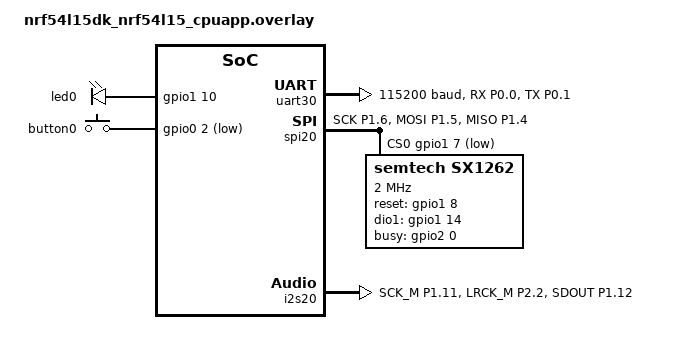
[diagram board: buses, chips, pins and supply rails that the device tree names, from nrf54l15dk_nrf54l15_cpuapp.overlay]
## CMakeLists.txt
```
cmake_minimum_required(VERSION 3.20.0)
find_package(Zephyr REQUIRED HINTS $ENV{ZEPHYR_BASE})
project(LoWkie_Talkie)

# No FetchContent! No Subdirectories! Zephyr handles Opus natively.
target_sources(app PRIVATE src/main.c)
```

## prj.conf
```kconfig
# Zephyr OS & Hardware
CONFIG_FPU=y
CONFIG_MAIN_STACK_SIZE=4096
CONFIG_SYSTEM_WORKQUEUE_STACK_SIZE=2048

# LoRa & SPI
CONFIG_SPI=y
CONFIG_GPIO=y

CONFIG_LORA=y
CONFIG_LORA_SX126X=y

# Audio & I2S
CONFIG_I2S=y
CONFIG_AUDIO=y

# Threading & IPC
CONFIG_NUM_PREEMPT_PRIORITIES=15
CONFIG_TIMESLICING=y

# Logging
CONFIG_LOG=y
CONFIG_LOG_MODE_DEFERRED=y
CONFIG_LORA_LOG_LEVEL_WRN=y
CONFIG_I2S_LOG_LEVEL_ERR=y

# Enable Newlib C Library for Codec2 math/memory dependencies
CONFIG_NEWLIB_LIBC=y
CONFIG_NEWLIB_LIBC_FLOAT_PRINTF=y

# Memory Management (No Malloc allowed in audio threads)
CONFIG_HEAP_MEM_POOL_SIZE=8192

# Native Opus Integration
CONFIG_OPUS=y
CONFIG_OPUS_CUSTOM_MODES=y
```

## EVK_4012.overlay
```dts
/* Enable the I2S peripheral */
&i2s0 {
	compatible = "nordic,nrf-i2s";
	status = "okay";
	pinctrl-0 = <&i2s0_default>;
	pinctrl-names = "default";
};

/* Define pin mappings for the I2S interface */
&pinctrl {
	i2s0_default: i2s0_default {
		group1 {
			psels = <NRF_PSEL(I2S_SCK_M, 0, 30)>,
			<NRF_PSEL(I2S_LRCK_M, 0, 29)>,
			<NRF_PSEL(I2S_SDOUT, 0, 31)>;
		};
	};
};
```

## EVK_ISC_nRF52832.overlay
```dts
&spi0 {
    status = "okay";
    compatible = "nordic,nrf-spi";
    cs-gpios = <&gpio0 13 GPIO_ACTIVE_LOW>;
    pinctrl-0 = <&lora_default>;
    pinctrl-1 = <&lora_sleep>;
    pinctrl-names = "default", "sleep";
    sx1262: sx1262@0 {
        compatible = "semtech,sx1262";
        reg = <0>;
        spi-max-frequency = <DT_FREQ_M(2)>;
        reset-gpios = <&gpio0 16 GPIO_ACTIVE_HIGH>;
        dio1-gpios = <&gpio0 18 GPIO_ACTIVE_HIGH>;
        busy-gpios = <&gpio0 24 GPIO_ACTIVE_HIGH>;
        dio2-tx-enable;
    };
};


&pinctrl {
   lora_default:lora_default{
        group1 {
            psels = <NRF_PSEL(SPIM_SCK, 0, 6)>,
                    <NRF_PSEL(SPIM_MOSI, 0, 26)>,
                    <NRF_PSEL(SPIM_MISO, 0, 25)>;
        };
    };
    lora_sleep:lora_sleep{  
        group1 {
            psels = <NRF_PSEL(SPIM_SCK, 0, 6)>,
                    <NRF_PSEL(SPIM_MOSI, 0, 26)>,
                    <NRF_PSEL(SPIM_MISO, 0, 25)>;
        };
    };
};
```

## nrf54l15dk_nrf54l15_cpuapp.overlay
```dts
&pwm20 {
	status="disabled";
};
&led1 {
	status="disabled";
};

/ {
	chosen {
		zephyr,console = &uart30;
		zephyr,shell-uart = &uart30;
		zephyr,uart-mcumgr = &uart30;
	};
	
	leds {
		compatible = "gpio-leds";
		led0: led_0 {
			gpios = <&gpio1 10 GPIO_ACTIVE_HIGH>;
		};
	};
	
	buttons {
		compatible = "gpio-keys";
		button0: button_0 {
			gpios = <&gpio0 2 (GPIO_ACTIVE_LOW | GPIO_PULL_UP)>;
		};
	};
	
	aliases {
		led0 = &led0;
		button0 = &button0;
		lora0 = &sx1262;
	};
};

&button2 {
	status = "disabled";
};

&led3 {
	status = "disabled";
};


&spi00 {
	status = "disabled";
};

&uart30 {
	status = "okay";
	current-speed = <115200>;
	pinctrl-0 = <&uart30_default>;
	pinctrl-1 = <&uart30_sleep>;
	pinctrl-names = "default", "sleep";
};

&uart20 {
	status = "disabled";
};

&spi20 {
	status = "okay";
	compatible = "nordic,nrf-spim";
	pinctrl-0 = <&spi20_default>;
	pinctrl-1 = <&spi20_sleep>;
	pinctrl-names = "default", "sleep";
	cs-gpios = <&gpio1 7 GPIO_ACTIVE_LOW>;
	sx1262: sx1262@0 {
		compatible = "semtech,sx1262";
		reg = <0>;
		spi-max-frequency = <DT_FREQ_M(2)>;
		reset-gpios = <&gpio1 8 GPIO_ACTIVE_HIGH>;
		dio1-gpios = <&gpio1 14 GPIO_ACTIVE_HIGH>;
		busy-gpios = <&gpio2 0 GPIO_ACTIVE_HIGH>;
		dio2-tx-enable;
	};
};

// &lfxo {
//     load-capacitors = "external";
// };

// &hfxo {
//     load-capacitors = "external";
// };

&i2s20 {
	status = "okay";
	
	pinctrl-0 = <&i2s20_default>;
	pinctrl-1 = <&i2s20_sleep>;
	
	pinctrl-names = "default", "sleep";
};


&pinctrl {
	uart30_default: uart30_default {
		group1 {
			psels = <NRF_PSEL(UART_RX, 0, 0)>,
			<NRF_PSEL(UART_TX, 0, 1)>;
			bias-pull-up;
		};
	};
	uart30_sleep: uart30_sleep {
		group1 {
			psels = <NRF_PSEL(UART_RX, 0, 0)>,
			<NRF_PSEL(UART_TX, 0, 1)>;
			low-power-enable;
		};
	};
	
	spi20_default: spi20_default {
		group1 {
			psels = <NRF_PSEL(SPIM_SCK, 1, 6)>,
			<NRF_PSEL(SPIM_MOSI, 1, 5)>,
			<NRF_PSEL(SPIM_MISO, 1, 4)>;
		};
	};
	
	spi20_sleep: spi20_sleep {
		group1 {
			psels = <NRF_PSEL(SPIM_SCK, 1, 6)>,
			<NRF_PSEL(SPIM_MOSI, 1, 5)>,
			<NRF_PSEL(SPIM_MISO, 1, 4)>;
			low-power-enable;
		};
	};
	i2s20_default: i2s20_default {
		group1 {
			psels = <NRF_PSEL(I2S_SCK_M, 1, 11)>,// BCLK - I2S Bit Clock
			<NRF_PSEL(I2S_LRCK_M, 2, 2)>,// LRC - I2S Word Select / LR Clock
			<NRF_PSEL(I2S_SDOUT, 1, 12)>;// DIN - I2S Audio Data ---- I2S Serial Data Out (SDOUT)
		};
	};
	
	i2s20_sleep: i2s20_sleep {
		group1 {
			psels = <NRF_PSEL(I2S_SCK_M, 1, 11)>,
			<NRF_PSEL(I2S_LRCK_M, 2, 2)>,
			<NRF_PSEL(I2S_SDOUT, 1, 12)>;
			low-power-enable;
		};
	};
};
```

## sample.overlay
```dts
/ {
	aliases {
		// These aliases help main.c find the pins if it uses DT_ALIAS
		lora0 = &sx1262;
	};
};

&spi0 {
	compatible = "nordic,nrf-spi";
	status = "okay";
	cs-gpios = <&gpio1 12 GPIO_ACTIVE_LOW>;
	pinctrl-0 = <&lora_default>;
	pinctrl-1 = <&lora_sleep>;
	pinctrl-names = "default", "sleep";

	// LABEL MUST BE 'sx1262' to match the driver's expectation
	sx1262: lora@0 {
		// COMPATIBLE MUST BE 'semtech,sx1262' to match the driver binding
		compatible = "semtech,sx1262";
		reg = <0>;
		spi-max-frequency = <125000>;

		// GPIOs must be defined INSIDE the device node for the driver to find them
		reset-gpios = <&gpio1 6 GPIO_ACTIVE_HIGH>;
		
		// Note: You had P0.07 for both Busy and RX_EN. This is likely a conflict.
		// I have assigned P0.07 to BUSY here. Check your schematic!
		busy-gpios  = <&gpio1 7 GPIO_ACTIVE_HIGH>;
		
		dio1-gpios  = <&gpio1 8 GPIO_ACTIVE_HIGH>;
	};
};

&pinctrl {
	lora_default: lora_default {
		group1 {
			psels = <NRF_PSEL(SPIM_SCK, 1, 13)>,
					<NRF_PSEL(SPIM_MOSI, 1, 14)>,
					<NRF_PSEL(SPIM_MISO, 1, 15)>;
		};
	};

	lora_sleep: lora_sleep {
		group1 {
			psels = <NRF_PSEL(SPIM_SCK, 1, 13)>,
					<NRF_PSEL(SPIM_MOSI, 1, 14)>,
					<NRF_PSEL(SPIM_MISO, 1, 15)>;
			low-power-enable;
		};
	};
};
```

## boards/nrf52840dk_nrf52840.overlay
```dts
&i2s0 {
	status = "okay";
	sck-pin = <25>;
	lrck-pin = <26>;
	sdin-pin = <27>; /* INMP441 Data */
	clock-source = "PCLK32M_HFXO";
};

/ {
	buttons {
		compatible = "gpio-keys";
		ptt_button: ptt_button {
			gpios = <&gpio0 11 (GPIO_PULL_UP | GPIO_ACTIVE_LOW)>;
			label = "Push to Talk";
		};
	};
};
```

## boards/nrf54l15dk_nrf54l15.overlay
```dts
&pwm20 {
	status="disabled";
};
&led1 {
	status="disabled";
};

/ {
	chosen {
		zephyr,console = &uart30;
		zephyr,shell-uart = &uart30;
		zephyr,uart-mcumgr = &uart30;
	};
	
	leds {
		compatible = "gpio-leds";
		led0: led_0 {
			gpios = <&gpio1 10 GPIO_ACTIVE_HIGH>;
		};
	};
	
	buttons {
		compatible = "gpio-keys";
		button0: button_0 {
			gpios = <&gpio0 2 (GPIO_ACTIVE_LOW | GPIO_PULL_UP)>;
			label = "Push to Talk";
		};
	};
	
	aliases {
		led0 = &led0;
		button0 = &button0;
		lora0 = &sx1262;
	};
};

&button2 {
	status = "disabled";
};

&led3 {
	status = "disabled";
};


&spi00 {
	status = "disabled";
};

&uart30 {
	status = "okay";
	current-speed = <115200>;
	pinctrl-0 = <&uart30_default>;
	pinctrl-1 = <&uart30_sleep>;
	pinctrl-names = "default", "sleep";
};

&uart20 {
	status = "disabled";
};

&spi20 {
	status = "okay";
	compatible = "nordic,nrf-spim";
	pinctrl-0 = <&spi20_default>;
	pinctrl-1 = <&spi20_sleep>;
	pinctrl-names = "default", "sleep";
	cs-gpios = <&gpio1 7 GPIO_ACTIVE_LOW>;
	sx1262: sx1262@0 {
		compatible = "semtech,sx1262";
		reg = <0>;
		spi-max-frequency = <DT_FREQ_M(2)>;
		reset-gpios = <&gpio1 8 GPIO_ACTIVE_HIGH>;
		dio1-gpios = <&gpio1 14 GPIO_ACTIVE_HIGH>;
		busy-gpios = <&gpio2 0 GPIO_ACTIVE_HIGH>;
		dio2-tx-enable;
	};
};

// &lfxo {
//     load-capacitors = "external";
// };

// &hfxo {
//     load-capacitors = "external";
// };

&i2s20 {
	status = "okay";
	
	pinctrl-0 = <&i2s20_default>;
	pinctrl-1 = <&i2s20_sleep>;
	
	pinctrl-names = "default", "sleep";
};


&pinctrl {
	uart30_default: uart30_default {
		group1 {
			psels = <NRF_PSEL(UART_RX, 0, 0)>,
			<NRF_PSEL(UART_TX, 0, 1)>;
			bias-pull-up;
		};
	};
	uart30_sleep: uart30_sleep {
		group1 {
			psels = <NRF_PSEL(UART_RX, 0, 0)>,
			<NRF_PSEL(UART_TX, 0, 1)>;
			low-power-enable;
		};
	};
	
	spi20_default: spi20_default {
		group1 {
			psels = <NRF_PSEL(SPIM_SCK, 1, 6)>,
			<NRF_PSEL(SPIM_MOSI, 1, 5)>,
			<NRF_PSEL(SPIM_MISO, 1, 4)>;
		};
	};
	
	spi20_sleep: spi20_sleep {
		group1 {
			psels = <NRF_PSEL(SPIM_SCK, 1, 6)>,
			<NRF_PSEL(SPIM_MOSI, 1, 5)>,
			<NRF_PSEL(SPIM_MISO, 1, 4)>;
			low-power-enable;
		};
	};
	i2s20_default: i2s20_default {
		group1 {
			psels = <NRF_PSEL(I2S_SCK_M, 1, 11)>,// BCLK - I2S Bit Clock
			<NRF_PSEL(I2S_LRCK_M, 2, 2)>,// LRC - I2S Word Select / LR Clock
			<NRF_PSEL(I2S_SDOUT, 1, 12)>;// DIN - I2S Audio Data ---- I2S Serial Data Out (SDOUT)
		};
	};
	
	i2s20_sleep: i2s20_sleep {
		group1 {
			psels = <NRF_PSEL(I2S_SCK_M, 1, 11)>,
			<NRF_PSEL(I2S_LRCK_M, 2, 2)>,
			<NRF_PSEL(I2S_SDOUT, 1, 12)>;
			low-power-enable;
		};
	};
};
```

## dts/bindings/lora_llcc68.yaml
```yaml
description: |
    Semtech lora device LLCC68

compatible: "lora-llcc68"

include: spi-device.yaml
```

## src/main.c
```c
#include <zephyr/kernel.h>
#include <zephyr/device.h>
#include <zephyr/devicetree.h>
#include <zephyr/drivers/i2s.h>
#include <zephyr/drivers/gpio.h>
#include <zephyr/logging/log.h>
#include <zephyr/sys/printk.h>
#include <string.h>
#include <stdint.h>

/* Speex instead of Codec2 */
#include <speex/speex.h>

#include "packet.h"
#include "llcc68_driver.h"
#include "audio_data.h"

LOG_MODULE_REGISTER(lowkie_talkie, LOG_LEVEL_INF);

#define USE_TEST_AUDIO 1 // 1: Stored PCM, 0: Live Mic

#define JITTER_BUFFER_TARGET_PACKETS 5 // 800ms buffer

/* Speex Timing Updates */
#define SAMPLES_PER_FRAME 160 // 20ms @ 8kHz for Speex Narrowband
#define FRAMES_PER_PACKET 8   // 8 frames * 20ms = 160ms audio window

/* Memory Slabs and Message Queues */
K_MSGQ_DEFINE(tx_audio_msgq, SAMPLES_PER_FRAME * sizeof(int16_t), 10, 4);
K_MSGQ_DEFINE(tx_lora_msgq, sizeof(lowkie_packet_t), 10, 4);

K_MSGQ_DEFINE(rx_lora_msgq, sizeof(lowkie_packet_t), 20, 4);
K_MSGQ_DEFINE(rx_audio_msgq, SAMPLES_PER_FRAME * sizeof(int16_t) * FRAMES_PER_PACKET, 10, 4);

static volatile bool is_ptt_pressed = false;

/* Hardware Specs */
static const struct gpio_dt_spec reset_pin = GPIO_DT_SPEC_INST_GET(0, reset_gpios);
static const struct gpio_dt_spec button = GPIO_DT_SPEC_GET(DT_ALIAS(sw0), gpios);
static struct gpio_callback button_cb_data;

/* -------------------------------------------------------------------------- */
/* HARDWARE INITIALIZATION                                                    */
/* -------------------------------------------------------------------------- */

void button_pressed_callback(const struct device *dev, struct gpio_callback *cb, uint32_t pins)
{
        int val = gpio_pin_get_dt(&button);
        is_ptt_pressed = (val > 0);

        if (is_ptt_pressed)
        {
                LOG_INF("PTT Pressed - Entering TX Mode");
        }
        else
        {
                LOG_INF("PTT Released - Entering RX Mode");
        }
}

static void button_init(void)
{
        if (!gpio_is_ready_dt(&button))
        {
                LOG_ERR("Button device not ready");
                return;
        }

        gpio_pin_configure_dt(&button, GPIO_INPUT);
        gpio_pin_interrupt_configure_dt(&button, GPIO_INT_EDGE_BOTH);
        gpio_init_callback(&button_cb_data, button_pressed_callback, BIT(button.pin));
        gpio_add_callback(button.port, &button_cb_data);

        LOG_INF("PTT Button initialized");
}

void lora_init(void)
{
        peripherals_ready();
        LOG_INF("Starting LORA SX126X!");

        llcc68_reset(&reset_pin);
        llcc68_setStandby(LLCC68_STDBY_RC);

        uint8_t mode = llcc68_getMode();
        if (mode != LLCC68_STATUS_MODE_STDBY_RC)
        {
                LOG_WRN("Wrong status received! (mode: 0x%X)", mode);
                return;
        }

        llcc68_setPacketType(LLCC68_PACKETTYPE_LORA);
        llcc68_fixResistanceAntenna();

        LOG_INF("Set RF module to use XTAL as clock reference");
        llcc68_setXtalCap(0x12, 0x12);

        LOG_INF("Setting LORA Frequency!");
        llcc68_setFrequency(865100000);

        LOG_INF("Setting TX power");
        llcc68_setTxPower(14, SX126X_TX_POWER_SX1262);

        LOG_INF("Setting modulation parameters");
        uint8_t sf = 7;
        uint32_t bw = 250000;
        uint8_t cr = 1;
        llcc68_LoraModulation(sf, bw, cr, true);

        LOG_INF("Setting Packet Parameters");
        uint8_t headerType = LLCC68_HEADER_EXPLICIT;
        uint16_t preambleLength = 16;
        uint8_t payloadLength = sizeof(lowkie_packet_t);
        bool crcType = true;
        llcc68_setLoraPacket(headerType, preambleLength, payloadLength, crcType, false);

        LOG_INF("Setting sync word");
        llcc68_setSyncWord(PACKET_SYNC_WORD);
}

/* -------------------------------------------------------------------------- */
/* AUDIO & CODEC PIPELINE THREADS (SPEEX INTEGER API)                         */
/* -------------------------------------------------------------------------- */

void tx_audio_capture_thread(void)
{
        int16_t pcm_buffer[SAMPLES_PER_FRAME];
        uint32_t phase = 0;

        while (1)
        {
                if (!is_ptt_pressed)
                {
                        k_msleep(50); // Yield CPU when not transmitting
                        continue;
                }

#if USE_TEST_AUDIO
                for (int i = 0; i < SAMPLES_PER_FRAME; i++)
                {
                        pcm_buffer[i] = (phase++ % 18) > 9 ? 8000 : -8000;
                }
                k_msleep(20); // 20ms yield to match Speex frame length
#else
                // i2s_read(i2s_dev, &pcm_buffer, sizeof(pcm_buffer), &bytes_read);
#endif
                k_msgq_put(&tx_audio_msgq, &pcm_buffer, K_NO_WAIT);
        }
}

void tx_speex_encoder_thread(void)
{
        void *speex_enc = speex_encoder_init(&speex_nb_mode);
        if (speex_enc == NULL)
        {
                LOG_ERR("Failed to create Speex instance for TX");
                return;
        }

        // Force Quality 1 (~2.15 kbps) to ensure payload fits inside LoRa limits
        int quality = 1;
        speex_encoder_ctl(speex_enc, SPEEX_SET_QUALITY, &quality);

        SpeexBits bits;
        speex_bits_init(&bits);

        int16_t pcm_buffer[SAMPLES_PER_FRAME];
        lowkie_packet_t packet;
        uint16_t seq_id = 0;
        int frame_idx = 0;

        while (1)
        {
                k_msgq_get(&tx_audio_msgq, &pcm_buffer, K_FOREVER);

                if (frame_idx == 0)
                {
                        packet.sync_word = PACKET_SYNC_WORD;
                        packet.packet_id = seq_id++;
                        packet.timestamp = k_uptime_get_32();
                        packet.codec_mode = CODEC_MODE_SPEEX_2150; // Defined in packet.h
                        speex_bits_reset(&bits);
                }

                // Integer-only Speex encoding
                speex_encode_int(speex_enc, pcm_buffer, &bits);
                frame_idx++;

                if (frame_idx == FRAMES_PER_PACKET)
                {
                        // Write compressed bits to payload array
                        packet.payload_size = speex_bits_write(&bits, packet.payload, sizeof(packet.payload));
                        packet.crc16 = 0xFFFF; // Replace with actual CRC calculation
                        k_msgq_put(&tx_lora_msgq, &packet, K_NO_WAIT);
                        frame_idx = 0;
                }
        }

        // Clean up (though this infinite loop never reaches here)
        speex_bits_destroy(&bits);
        speex_encoder_destroy(speex_enc);
}

void rx_jitter_buffer_thread(void)
{
        lowkie_packet_t packet;
        lowkie_packet_t jbuf[20];
        int jbuf_count = 0;
        bool is_playing = false;
        uint16_t expected_id = 0;

        void *speex_dec = speex_decoder_init(&speex_nb_mode);
        if (speex_dec == NULL)
        {
                LOG_ERR("Failed to create Speex instance for RX");
                return;
        }

        SpeexBits bits;
        speex_bits_init(&bits);

        int16_t pcm_out[SAMPLES_PER_FRAME * FRAMES_PER_PACKET];

        while (1)
        {
                if (!is_playing)
                {
                        k_msgq_get(&rx_lora_msgq, &packet, K_FOREVER);
                        jbuf[jbuf_count++] = packet;

                        if (jbuf_count >= JITTER_BUFFER_TARGET_PACKETS)
                        {
                                is_playing = true;
                                expected_id = jbuf[0].packet_id;
                        }
                }
                else
                {
                        int16_t diff = (int16_t)(jbuf[0].packet_id - expected_id);

                        if (diff < 0)
                        {
                                LOG_WRN("Discarding old packet %d (expected %d)", jbuf[0].packet_id, expected_id);
                                memmove(&jbuf[0], &jbuf[1], sizeof(lowkie_packet_t) * (jbuf_count - 1));
                                jbuf_count--;
                                if (jbuf_count == 0)
                                {
                                        is_playing = false;
                                }
                                continue;
                        }
                        else if (diff > 0)
                        {
                                LOG_WRN("Missing packet %d, inserting silence", expected_id);
                                memset(pcm_out, 0, sizeof(pcm_out));
                                expected_id++;
                                k_msgq_put(&rx_audio_msgq, pcm_out, K_NO_WAIT);

                                if (k_msgq_get(&rx_lora_msgq, &packet, K_NO_WAIT) == 0)
                                {
                                        jbuf[jbuf_count++] = packet;
                                }
                                continue;
                        }

                        packet = jbuf[0];
                        memmove(&jbuf[0], &jbuf[1], sizeof(lowkie_packet_t) * (jbuf_count - 1));
                        jbuf_count--;
                        expected_id++;

                        // Load bits from payload and decode
                        speex_bits_read_from(&bits, packet.payload, packet.payload_size);

                        for (int i = 0; i < FRAMES_PER_PACKET; i++)
                        {
                                // Integer-only Speex decoding
                                speex_decode_int(speex_dec, &bits, &pcm_out[i * SAMPLES_PER_FRAME]);
                        }

                        k_msgq_put(&rx_audio_msgq, pcm_out, K_NO_WAIT);

                        if (k_msgq_get(&rx_lora_msgq, &packet, K_NO_WAIT) == 0)
                        {
                                jbuf[jbuf_count++] = packet;
                        }

                        if (jbuf_count == 0)
                        {
                                LOG_WRN("Jitter buffer empty, forcing rebuffering");
                                is_playing = false;
                        }
                }
        }

        speex_bits_destroy(&bits);
        speex_decoder_destroy(speex_dec);
}

void rx_audio_play_thread(void)
{
        int16_t pcm_out[SAMPLES_PER_FRAME * FRAMES_PER_PACKET];
        while (1)
        {
                k_msgq_get(&rx_audio_msgq, pcm_out, K_FOREVER);
                // i2s_write(i2s_dev, pcm_out, sizeof(pcm_out), &bytes_written);
        }
}

/* -------------------------------------------------------------------------- */
/* UNIFIED TRANSCEIVER THREAD (Half-Duplex Master)                            */
/* -------------------------------------------------------------------------- */

void lora_transceiver_thread(void)
{
        lowkie_packet_t packet;

        while (1)
        {
                if (is_ptt_pressed)
                {
                        /* --- TX MODE --- */
                        if (k_msgq_get(&tx_lora_msgq, &packet, K_NO_WAIT) == 0)
                        {
                                llcc68_beginPacket();
                                llcc68_write_data((uint8_t *)&packet, sizeof(packet));
                                llcc68_endPacket(0U);

                                llcc68_wait(500U);

                                uint8_t status_temp = llcc68_status();
                                if (status_temp == LLCC68_STATUS_TX_DONE)
                                {
                                        LOG_DBG("Transmitted Packet ID: %d", packet.packet_id);
                                }
                        }
                        else
                        {
                                k_msleep(10);
                        }
                }
                else
                {
                        /* --- RX MODE --- */
                        llcc68_request(100U);
                        llcc68_wait(100U);

                        uint8_t dataLen = llcc68_available();
                        if (dataLen == sizeof(lowkie_packet_t))
                        {
                                llcc68_read_data((uint8_t *)&packet, dataLen);

                                if (packet.sync_word == PACKET_SYNC_WORD)
                                {
                                        int16_t rssi = llcc68_packetRssi();
                                        int8_t snr = (int8_t)llcc68_snr();
                                        LOG_INF("Packet %d Received | RSSI: %d dBm | SNR: %d", packet.packet_id, rssi, snr);

                                        k_msgq_put(&rx_lora_msgq, &packet, K_NO_WAIT);
                                }
                        }
                }
        }
}

/* -------------------------------------------------------------------------- */
/* THREAD REGISTRATION                                                        */
/* -------------------------------------------------------------------------- */

// RX audio playback gets highest priority to avoid stutter
K_THREAD_DEFINE(rx_audio_id, 2048, rx_audio_play_thread, NULL, NULL, NULL, 1, 0, 0);
K_THREAD_DEFINE(lora_trans_id, 2048, lora_transceiver_thread, NULL, NULL, NULL, 2, 0, 0);

// Notice K_FP_REGS has been removed (set to 0) since Speex runs purely on integer math
K_THREAD_DEFINE(rx_codec_id, 4096, rx_jitter_buffer_thread, NULL, NULL, NULL, 3, 0, 0);
K_THREAD_DEFINE(tx_codec_id, 4096, tx_speex_encoder_thread, NULL, NULL, NULL, 4, 0, 0);
K_THREAD_DEFINE(tx_audio_id, 2048, tx_audio_capture_thread, NULL, NULL, NULL, 5, 0, 0);

int main(void)
{
        LOG_INF("========== LoWkie Talkie Transceiver Starting ==========");

        button_init();
        lora_init();

        while (1)
        {
                k_sleep(K_SECONDS(1));
        }
}
```

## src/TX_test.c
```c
#include <zephyr/kernel.h>
#include <zephyr/device.h>
#include <zephyr/devicetree.h>
#include <zephyr/logging/log.h>
#include <zephyr/sys/printk.h>
#include "llcc68_driver.h"
#include <zephyr/pm/device.h>
#include <hal/nrf_power.h>

// LOG_MODULE_REGISTER(lora_llcc68, LOG_LEVEL_INF);
LOG_MODULE_REGISTER(main, LOG_LEVEL_INF);

// static const struct gpio_dt_spec reset_pin = GPIO_DT_SPEC_GET(DT_ALIAS(resetpin), gpios);
static const struct gpio_dt_spec reset_pin = GPIO_DT_SPEC_GET(DT_ALIAS(lora0), reset_gpios);

char message[] = "HW=ello world, this is a text message from the lora module, sent via UARt and transmitted over lora, and received back from the lora receiver";
uint8_t nBytes = sizeof(message);
uint8_t counter = 0;

int main(void)
{
        // begin
        peripherals_ready();
        LOG_INF("Starting LORA SX126X!");
        llcc68_reset(&reset_pin);
        llcc68_setStandby(LLCC68_STDBY_RC);
        uint8_t mode = llcc68_getMode();
        if (mode != LLCC68_STATUS_MODE_STDBY_RC)
        {
                LOG_WRN("Wrong status received! (mode: 0x%X)", mode);
                return -1;
        }
        llcc68_setPacketType(LLCC68_PACKETTYPE_LORA);
        llcc68_fixResistanceAntenna();

        uint8_t xtalA = 0x12;
        uint8_t xtalB = 0x12;
        LOG_INF("Set RF module to use XTAL as clock reference");
        llcc68_setXtalCap(xtalA, xtalB);

        LOG_INF("Setting LORA Frequency!");
        llcc68_setFrequency(865100000);
        LOG_INF("Setting TX power");
        llcc68_setTxPower(22, SX126X_TX_POWER_SX1262);

        LOG_INF("Setting modulation parameters");
        uint8_t sf = 7;
        uint32_t bw = 250000;
        uint8_t cr = 1;
        llcc68_LoraModulation(sf, bw, cr, true);

        LOG_INF("Setting Packet Parameters");
        uint8_t headerType = LLCC68_HEADER_EXPLICIT;
        uint16_t preambleLength = 16;
        uint8_t payloadLength = 64;
        bool crcType = true;
        llcc68_setLoraPacket(headerType, preambleLength, payloadLength, crcType, false);

        LOG_INF("Setting sync word");
        llcc68_setSyncWord(0x3444);
        llcc68_setDio2AsRfSwitchCtrl(true);
        LOG_INF("=====================LORA TRANSMITTER=====================");

        while (1)
        {
                // k_sleep(K_MSEC(4400));
                llcc68_beginPacket();
                llcc68_write_char(message, nBytes);
                llcc68_write_data(&counter, 1);
                llcc68_endPacket(0U);

                LOG_INF("%s %d", message, counter);
                counter++;
                llcc68_wait(0U);
                uint32_t time = llcc68_transmitTime();
                LOG_INF("Transmit Time: %d ms", time);
                uint8_t status = llcc68_status();
                if (status == LLCC68_STATUS_TX_DONE)
                {
                        LOG_INF("TxDone");
                }

                k_sleep(K_MSEC(100));
        }
}
```

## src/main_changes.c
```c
#include <zephyr/kernel.h>
#include <zephyr/device.h>
#include <zephyr/devicetree.h>
#include <zephyr/logging/log.h>
#include <zephyr/sys/printk.h>
#include "llcc68_driver.h"
#include <string.h>
#include <stdint.h>
#include <stdbool.h>

LOG_MODULE_REGISTER(lora_llcc68, LOG_LEVEL_INF);
static const struct gpio_dt_spec reset_pin = GPIO_DT_SPEC_INST_GET(0, reset_gpios);

#define AUDIO_PAYLOAD_SIZE 200
#define MAX_AUDIO_SIZE 16384

#define RX_TIMEOUT_MS 5000

char message[] = "transmitting LoRa Packet";
uint8_t nBytes = sizeof(message);
uint8_t counter = 0;

/* ---------------- Packet Structure ---------------- */

typedef struct __packed
{
    uint16_t packet_id;
    uint16_t payload_len;

    uint8_t is_last;
    uint8_t data[AUDIO_PAYLOAD_SIZE];

} lora_audio_packet_t;

/* ---------------- Global Audio Buffer ---------------- */

static uint8_t audio_buffer[MAX_AUDIO_SIZE];
static uint32_t received_bytes = 0;
static uint16_t expected_packet = 0;
static uint32_t total_packets = 0;

static int lora_init(void)
{
    peripherals_ready();
    LOG_INF("Starting LoWkie RX!");
    llcc68_reset(&reset_pin);
    llcc68_setStandby(LLCC68_STDBY_RC);
    uint8_t mode = llcc68_getMode();
    if (mode != LLCC68_STATUS_MODE_STDBY_RC)
    {
        LOG_WRN("Wrong status received! (mode: 0x%X)", mode);
        return -1;
    }
    llcc68_setPacketType(LLCC68_PACKETTYPE_LORA);
    llcc68_fixResistanceAntenna();

    uint8_t xtalA = 0x12;
    uint8_t xtalB = 0x12;
    llcc68_setXtalCap(xtalA, xtalB);

    llcc68_setFrequency(865100000);
    llcc68_setTxPower(22, SX126X_TX_POWER_SX1262);

    uint8_t sf = 9;
    uint32_t bw = 250000;
    uint8_t cr = 1;
    llcc68_LoraModulation(sf, bw, cr, true);

    uint8_t headerType = LLCC68_HEADER_EXPLICIT;
    uint16_t preambleLength = 8;
    uint8_t payloadLength = sizeof(lora_audio_packet_t);
    bool crcType = true;
    llcc68_setLoraPacket(headerType, preambleLength, payloadLength, crcType, false);

    llcc68_setSyncWord(0x3444);
    LOG_INF("LoWkie RX Initialized");
    return 0;
}

static void process_packet(uint8_t *rx_data, uint8_t len)
{
    if (len < sizeof(lora_audio_packet_t))
    {
        LOG_WRN("Packet too small");
        return;
    }

    lora_audio_packet_t *pkt =
        (lora_audio_packet_t *)rx_data;

    /* ---------------- Sequence Validation ---------------- */
    if (pkt->packet_id != expected_packet)
    {
        LOG_ERR(
            "Packet mismatch! Expected %u got %u",
            expected_packet,
            pkt->packet_id);

        return;
    }

    /* ---------------- Buffer Overflow Check ---------------- */
    if ((received_bytes + pkt->payload_len) >
        MAX_AUDIO_SIZE)
    {
        LOG_ERR("Audio buffer overflow");

        return;
    }

    /* ---------------- Copy Payload ---------------- */
    memcpy(
        &audio_buffer[received_bytes],
        pkt->data,
        pkt->payload_len);

    received_bytes += pkt->payload_len;
    expected_packet++;
    total_packets++;

    int16_t rssi = llcc68_packetRssi();
    int8_t snr = (int8_t)llcc68_snr();

    LOG_INF(
        "RX Packet %u | %u bytes | RSSI=%d | SNR=%d",
        pkt->packet_id,
        pkt->payload_len,
        rssi,
        snr);

    /* ---------------- Transmission Complete ---------------- */
    if (pkt->is_last)
    {
        LOG_INF("Audio Reception Complete");
        LOG_INF("Total Bytes: %u", received_bytes);
        LOG_INF("Total Packets: %u", total_packets);

        /*
         * - save to SD card
         * - playback using I2S/DAC
         */
    }
}

int main(void)
{
    if (lora_init() != 0)
    {
        LOG_ERR("LoRa init failed");
        return -1;
    }

    LOG_INF("Starting LoWkie RX");

    while (1)
    {
        llcc68_request(0U);
        llcc68_wait(0U);
        uint8_t len = llcc68_available();
        if (len == 0)
        {
            continue;
        }

        uint8_t rx_buffer[sizeof(lora_audio_packet_t)];
        memset(rx_buffer, 0, sizeof(rx_buffer));
        llcc68_read_data(rx_buffer, len);
        printk("%d. Message: %s | Length: %u bytes\n", counter++, rx_buffer, sizeof(rx_buffer));
        process_packet(rx_buffer, len);
        int16_t rssi = llcc68_packetRssi();
        int8_t snr = (int8_t)llcc68_snr();
        printk("%d. Message: %s | RSSI: %d dBm | SNR: %d | Length: %u bytes\n", counter++, rx_buffer, rssi, snr, sizeof(rx_buffer));
    }

    return 0;
}
```

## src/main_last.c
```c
#include <zephyr/kernel.h>
#include <zephyr/device.h>
#include <zephyr/devicetree.h>
#include <zephyr/logging/log.h>
#include <zephyr/drivers/i2s.h>
#include <zephyr/sys/ring_buffer.h>
#include <zephyr/sys/atomic.h>
#include <string.h>
#include <stdint.h>
#include <stdbool.h>

#include "llcc68_driver.h"

LOG_MODULE_REGISTER(lora_audio_rx, LOG_LEVEL_INF);

static const struct gpio_dt_spec reset_pin =
    GPIO_DT_SPEC_GET(DT_ALIAS(lora0), reset_gpios);

static const struct device *i2s_dev =
    DEVICE_DT_GET(DT_NODELABEL(i2s20));

//  * AUDIO CONFIG

#define AUDIO_SAMPLE_RATE 8000
#define AUDIO_PAYLOAD_SIZE 200
#define AUDIO_RING_BUFFER_SIZE 32768

#define I2S_BLOCK_SIZE 1024
#define I2S_NUM_BLOCKS 8

#define PACKET_SYNC 0xA55A

#define RF_FREQUENCY 865000000

/*
 * SF7 + BW500 gives much better throughput
 * for audio streaming.
 */
#define LORA_SF 9
#define LORA_BW 250000
#define LORA_CR 1

K_MEM_SLAB_DEFINE(
    tx_mem_slab,
    I2S_BLOCK_SIZE,
    I2S_NUM_BLOCKS,
    4);

RING_BUF_DECLARE(audio_ringbuf, AUDIO_RING_BUFFER_SIZE);

#define AUDIO_THREAD_STACK_SIZE 4096
#define AUDIO_THREAD_PRIORITY 4

K_THREAD_STACK_DEFINE(audio_stack,
                      AUDIO_THREAD_STACK_SIZE);

static struct k_thread audio_thread_data;

// PACKET FORMAT

typedef struct __packed
{
    uint16_t sync;

    uint16_t packet_id;

    uint16_t payload_size;

    uint8_t payload[AUDIO_PAYLOAD_SIZE];

} audio_packet_t;

static uint16_t expected_packet = 0;

static atomic_t audio_started = ATOMIC_INIT(0);

static int i2s_init(void)
{
    if (!device_is_ready(i2s_dev))
    {
        LOG_ERR("I2S device not ready");

        return -ENODEV;
    }

    struct i2s_config config =
        {
            .word_size = 16,

            /*
             * Stereo output.
             * Many DACs/MAX98357 prefer stereo frames.
             */
            .channels = 2,
            .format = I2S_FMT_DATA_FORMAT_I2S,
            .options =
                I2S_OPT_BIT_CLK_MASTER |
                I2S_OPT_FRAME_CLK_MASTER,
            .frame_clk_freq = AUDIO_SAMPLE_RATE,
            .mem_slab = &tx_mem_slab,
            .block_size = I2S_BLOCK_SIZE,
            .timeout = 1000,
        };

    int ret = i2s_configure(
        i2s_dev,
        I2S_DIR_TX,
        &config);

    if (ret)
    {
        LOG_ERR("I2S configure failed: %d", ret);

        return ret;
    }

    LOG_INF("I2S initialized");

    return 0;
}

static int lora_init(void)
{
    peripherals_ready();

    LOG_INF("Initializing SX1262 RX");

    llcc68_reset(&reset_pin);

    llcc68_setStandby(LLCC68_STDBY_RC);

    if (llcc68_getMode() != LLCC68_STATUS_MODE_STDBY_RC)
    {
        LOG_ERR("Standby failed");

        return -EIO;
    }

    llcc68_setPacketType(LLCC68_PACKETTYPE_LORA);

    llcc68_fixResistanceAntenna();

    llcc68_setDio2AsRfSwitchCtrl(true);

    llcc68_setXtalCap(0x12, 0x12);

    llcc68_setFrequency(RF_FREQUENCY);

    llcc68_setTxPower(22,
                      SX126X_TX_POWER_SX1262);

    llcc68_LoraModulation(
        LORA_SF,
        LORA_BW,
        LORA_CR,
        false);

    llcc68_setLoraPacket(
        LLCC68_HEADER_EXPLICIT,
        8, // 12
        sizeof(audio_packet_t),
        true,
        false);

    llcc68_setSyncWord(0x3444);

    LOG_INF("SX1262 RX Ready");

    return 0;
}

//  * INSERT SILENCE FOR LOST PACKETS

static void insert_silence(uint32_t bytes)
{
    static uint8_t silence[AUDIO_PAYLOAD_SIZE];

    memset(silence, 128, sizeof(silence));

    while (bytes)
    {
        uint32_t chunk =
            MIN(bytes, sizeof(silence));

        uint32_t written = ring_buf_put(
            &audio_ringbuf,
            silence,
            chunk);
        if (written != chunk)
        {
            LOG_WRN("Ring buffer partial write chunk");
        }

        bytes -= chunk;
    }
}

//  * PROCESS RECEIVED PACKET

static void process_packet(uint8_t *data,
                           uint8_t len)
{
    if (len < 6)
    {
        return;
    }

    audio_packet_t *pkt =
        (audio_packet_t *)data;

    /* ---------------- SYNC ---------------- */

    if (pkt->sync != PACKET_SYNC)
    {
        return;
    }

    /* ---------------- SIZE ---------------- */

    if (pkt->payload_size >
        AUDIO_PAYLOAD_SIZE)
    {
        return;
    }

    /* ---------------- LOST PACKETS ---------------- */

    if (pkt->packet_id != expected_packet)
    {
        uint16_t lost =
            pkt->packet_id - expected_packet;

        LOG_WRN("Lost packets: %u", lost);

        insert_silence(
            lost * AUDIO_PAYLOAD_SIZE);

        expected_packet =
            pkt->packet_id;
    }

    /* ---------------- PUSH AUDIO ---------------- */

    uint32_t free_space =
        ring_buf_space_get(&audio_ringbuf);

    if (free_space <
        pkt->payload_size)
    {
        LOG_WRN("Ring buffer overflow");

        return;
    }

    uint32_t written = ring_buf_put(
        &audio_ringbuf,
        pkt->payload,
        pkt->payload_size);

    if (written != pkt->payload_size)
    {
        LOG_WRN("Ring buffer partial write");
    }

    expected_packet++;
}

//  * AUDIO THREAD

static void audio_thread(void *a,
                         void *b,
                         void *c)
{
    ARG_UNUSED(a);
    ARG_UNUSED(b);
    ARG_UNUSED(c);

    bool i2s_started = false;

    while (1)
    {
        uint32_t available =
            ring_buf_size_get(
                &audio_ringbuf);

        /*
         * Prevent underrun.
         * Wait for enough audio.
         */
        if (available < 1024)
        {
            k_sleep(K_MSEC(5));

            continue;
        }

        void *block;

        int ret = k_mem_slab_alloc(
            &tx_mem_slab,
            &block,
            K_FOREVER);

        if (ret)
        {
            continue;
        }

        int16_t *samples =
            (int16_t *)block;

        uint32_t stereo_samples =
            I2S_BLOCK_SIZE /
            sizeof(int16_t);

        uint32_t mono_samples =
            stereo_samples / 2;

        uint8_t temp[mono_samples];

        uint32_t read =
            ring_buf_get(
                &audio_ringbuf,
                temp,
                mono_samples);

        /*
         * Convert:
         * unsigned 8-bit PCM
         * ->
         * signed 16-bit stereo PCM
         */
        for (uint32_t i = 0; i < read; i++)
        {
            int16_t s =
                ((int16_t)temp[i] - 128)
                << 8;

            /*
             * Duplicate mono to stereo
             */
            samples[i * 2] = s;
            samples[i * 2 + 1] = s;
        }

        /*
         * Pad remaining
         */
        for (uint32_t i = read;
             i < mono_samples;
             i++)
        {
            samples[i * 2] = 0;
            samples[i * 2 + 1] = 0;
        }

        ret = i2s_write(
            i2s_dev,
            block,
            I2S_BLOCK_SIZE);

        if (ret)
        {
            LOG_ERR("I2S write failed: %d",
                    ret);

            k_mem_slab_free(
                &tx_mem_slab,
                block);

            continue;
        }

        /*
         * Start once after first buffers queued
         */
        if (!i2s_started)
        {
            ret = i2s_trigger(
                i2s_dev,
                I2S_DIR_TX,
                I2S_TRIGGER_START);

            if (ret)
            {
                LOG_ERR("I2S start failed");

                continue;
            }

            i2s_started = true;

            LOG_INF("Audio playback started");
        }
    }
}

//  * MAIN

int main(void)
{
    int ret;

    LOG_INF("========== LoRa Audio RX ==========");

    ret = i2s_init();

    if (ret)
    {
        LOG_ERR("I2S init failed");

        return ret;
    }

    ret = lora_init();

    if (ret)
    {
        LOG_ERR("LoRa init failed");

        return ret;
    }

    /*
     * Dedicated audio thread
     */
    k_thread_create(
        &audio_thread_data,
        audio_stack,
        K_THREAD_STACK_SIZEOF(audio_stack),
        audio_thread,
        NULL,
        NULL,
        NULL,
        AUDIO_THREAD_PRIORITY,
        0,
        K_NO_WAIT);

    /*
     * MAIN RX LOOP
     */
    while (1)
    {
        llcc68_request(0U);

        llcc68_wait(0U);

        uint8_t len =
            llcc68_available();

        if (len == 0)
        {
            continue;
        }

        uint8_t rx_buffer[256];

        memset(rx_buffer,
               0,
               sizeof(rx_buffer));

        llcc68_read_data(
            rx_buffer,
            len);

        process_packet(
            rx_buffer,
            len);
    }

    return 0;
}
```

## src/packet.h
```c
#ifndef PACKET_H
#define PACKET_H

#include <stdint.h>

#define PACKET_SYNC_WORD 0xABCD
#define OPUS_FRAME_BYTES 40
#define FRAMES_PER_PACKET 2

typedef struct __attribute__((packed))
{
    uint16_t sync_word;
    uint16_t packet_id;
    uint32_t timestamp;
    uint8_t payload[OPUS_FRAME_BYTES * FRAMES_PER_PACKET];
    uint16_t crc16;
} lowkie_packet_t;
#endif // PACKET_H
```
